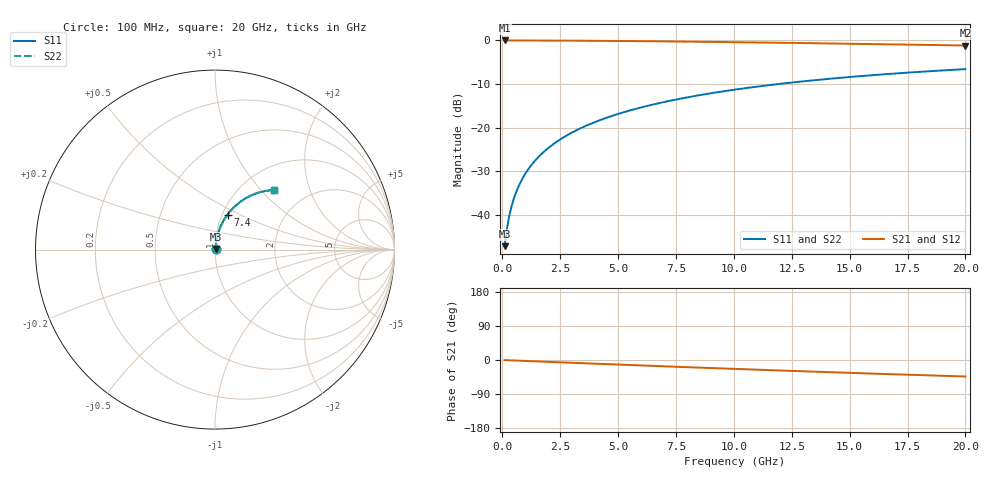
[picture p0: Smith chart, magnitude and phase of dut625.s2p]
! Touchstone file exported from HFSS 2026.1.0
!  File:  C:/ffzhzh/LocalFiles/Ansys_Project_Files/temp_train_BSMRDL_625_1783016487_4048.aedt
!  Generated:  02:22:45 AM Jul  3, 2026
!  Design:  BSMRDL
!  Project:  temp_train_BSMRDL_625_1783016487_4048
! Variables:
!  h_bsmrdl = 4.18um
!  h_ox = 20um
!  h_rdl = 5um
!  h_sub = 80um
!  h_tmrdl = 5um
!  h_tsv = 80um
!  h_via = 3um
!  l_bsmrdl = 584.18um
!  l_sub = 984.18um
!  l_tmrdl = 200um
!  m_sub = 200um
!  pitch = 54.22um
!  r_tsv = 6um
!  s_tmrdl = 10um
!  w_bsmrdl = 16.31um
!  w_sub = 500um
!  w_tmrdl = 12um
!  x_tsv_center1 = 206um
!  x_tsv_center2 = 806.49um
!  x_tsv_center3 = 1018.49um
!  x_tsv_center4 = 1618.98um
!  x_tsv_center5 = 1830.98um
!  x_tsv_center6 = 2431.47um
# GHz S MA R 50.000000
! Terminal data exported
! Port[1] = BSM_RDL1_1_T1
! Port[2] = BSM_RDL1_1_T2
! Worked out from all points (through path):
!   200 points, 100 MHz to 20 GHz, reference 50 ohm
!   highest |S21| = -0.03 dB at 100 MHz (marker M1); lowest = -1.2 dB at 20 GHz (marker M2)
!   group delay of S21, straight-line fit = 6.06 ps
!   lowest |S11| = -47.1 dB at 100 MHz (marker M3), VSWR 1.01, Z = 50.3 + j0.31 ohm
!   |S11| at or under -10 dB: start of sweep to 11.93 GHz
!   |S22| runs from -47.1 to -6.6 dB; largest |S21 - S12| = 3.4e-15
!   S11 on the Smith chart (normalised r, x): 100 MHz: 1.01, +0.01; 7.4 GHz: 1.06, +0.43; 20 GHz: 1.40, +1.19
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0.1  0.004412 44.3  0.9969 -0.3  0.9969 -0.3  0.004412 44.3
! Gamma 0 0 0 0
! Port Impedance 50 0 50 0
0.2  0.006952 61.8  0.9967 -0.5  0.9967 -0.5  0.006952 61.8
0.3  0.009758 69.3  0.9966 -0.8  0.9966 -0.8  0.009758 69.3
0.4  0.01262 73.2  0.9965 -1.0  0.9965 -1.0  0.01262 73.2
0.5  0.0155 75.6  0.9964 -1.2  0.9964 -1.2  0.0155 75.6
0.6  0.01838 77.2  0.9963 -1.5  0.9963 -1.5  0.01838 77.2
0.8  0.02416 79.2  0.996 -2.0  0.996 -2.0  0.02416 79.2
1.1  0.03285 80.5  0.9957 -2.7  0.9957 -2.7  0.03285 80.5
1.5  0.04446 81.1  0.9951 -3.7  0.9951 -3.7  0.04446 81.1
1.8  0.05317 81.1  0.9945 -4.4  0.9945 -4.4  0.05317 81.1
2.1  0.06186 80.9  0.9939 -5.1  0.9939 -5.1  0.06186 80.9
2.7  0.07915 80.1  0.9923 -6.6  0.9923 -6.6  0.07915 80.1
3.5  0.102 78.6  0.9898 -8.5  0.9898 -8.5  0.102 78.6
4.2  0.1216 77.2  0.9871 -10.2  0.9871 -10.2  0.1216 77.2
5  0.1438 75.5  0.9836 -12.1  0.9836 -12.1  0.1438 75.5
6.8  0.192 71.6  0.9742 -16.2  0.9742 -16.2  0.192 71.6
7.4  0.2076 70.3  0.9707 -17.6  0.9707 -17.6  0.2076 70.3
8.7  0.2404 67.5  0.9624 -20.5  0.9624 -20.5  0.2404 67.5
10.1  0.2743 64.5  0.9528 -23.6  0.9528 -23.6  0.2743 64.5
13.4  0.348 57.7  0.9275 -30.7  0.9275 -30.7  0.348 57.7
16.7  0.4127 51.2  0.9003 -37.3  0.9003 -37.3  0.4127 51.2
20  0.4683 45.1  0.8726 -43.6  0.8726 -43.6  0.4683 45.1
